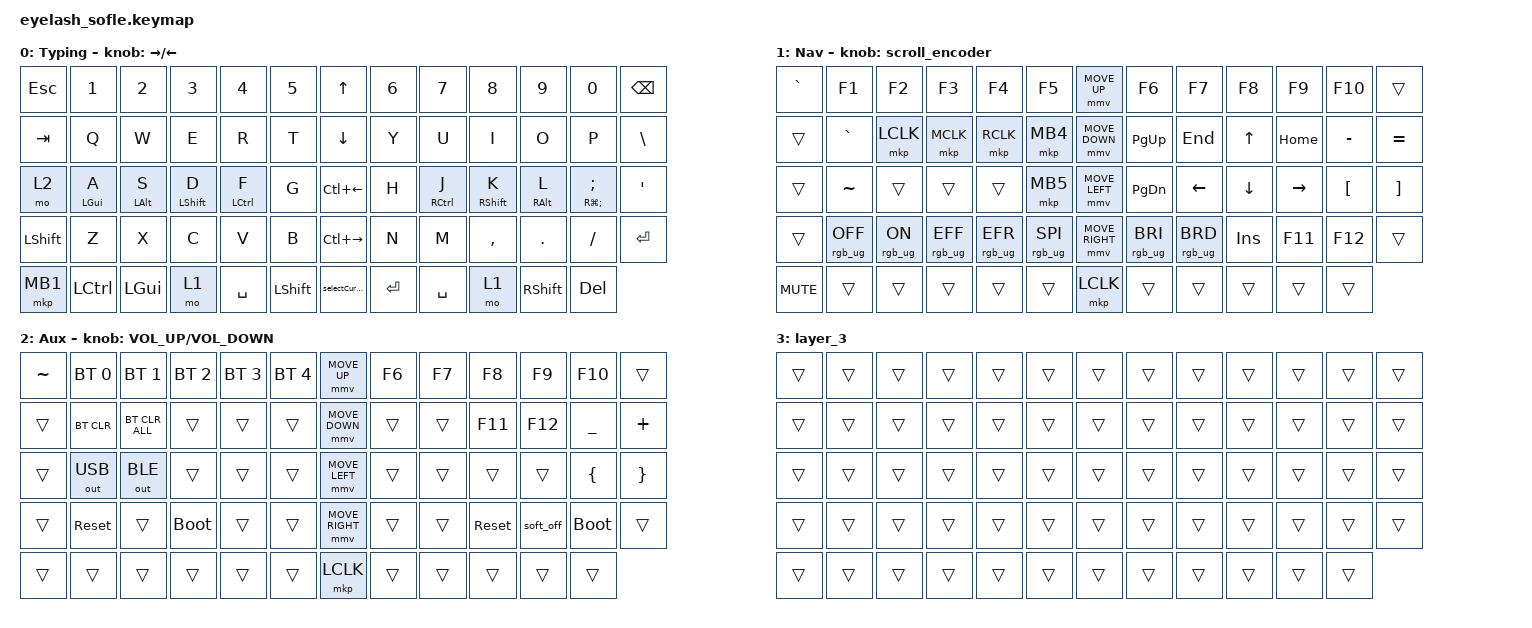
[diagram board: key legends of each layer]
#define ZMK_POINTING_DEFAULT_MOVE_VAL 1200  // 600
#define ZMK_POINTING_DEFAULT_SCRL_VAL 25   // 10

#include <input/processors.dtsi>
#include <zephyr/dt-bindings/input/input-event-codes.h>
#include <behaviors.dtsi>
#include <dt-bindings/zmk/bt.h>
#include <dt-bindings/zmk/keys.h>
#include <dt-bindings/zmk/outputs.h>
#include <dt-bindings/zmk/pointing.h>
#include <dt-bindings/zmk/rgb.h>

&mmv_input_listener { input-processors = <&zip_xy_scaler 2 1>; };

&msc_input_listener { input-processors = <&zip_scroll_scaler 2 1>; };

&msc {
    acceleration-exponent = <1>;      // 0
    time-to-max-speed-ms = <100>;       // 300
    delay-ms = <0>;                   // 0
};

&mmv {
    time-to-max-speed-ms = <500>;
    acceleration-exponent = <1>;
    trigger-period-ms = <16>;
};

&soft_off { hold-time-ms = <2000>; };

&mt { flavor = "balanced"; };

/ {
behaviors {
    scroll_encoder: scroll_encoder {
        compatible = "zmk,behavior-sensor-rotate";
        #sensor-binding-cells = <0>;
        bindings = <&msc SCRL_DOWN>, <&msc SCRL_UP>;

        tap-ms = <100>;
    };
};

    combos {
        compatible = "zmk,combos";

        softoff {
            bindings = <&soft_off>;
            key-positions = <14 28 40>;
        };
    };

    macros {
        selectCurrentWord: selectCurrentWord {
            compatible = "zmk,behavior-macro";
            #binding-cells = <0>;
            bindings = <&kp LC(LEFT)>, <&macro_tap>, <&kp LS(LC(RIGHT_ARROW))>;

            label = "SELECTCURRENTWORD";
        };
    };

    keymap {
        compatible = "zmk,keymap";

        Typing {
            bindings = <
&kp ESC    &kp N1          &kp N2          &kp N3            &kp N4       &kp N5            &kp UP_ARROW         &kp N6      &kp N7       &kp N8             &kp N9           &kp N0                  &kp BACKSPACE
&kp TAB    &kp Q           &kp W           &kp E             &kp R        &kp T             &kp DOWN_ARROW       &kp Y       &kp U        &kp I              &kp O            &kp P                   &kp BSLH
&mo 2      &mt LEFT_GUI A  &mt LEFT_ALT S  &mt LEFT_SHIFT D  &mt LCTRL F  &kp G             &kp LC(LEFT_ARROW)   &kp H       &mt RCTRL J  &mt RIGHT_SHIFT K  &mt RIGHT_ALT L  &mt RG(SEMI) SEMICOLON  &kp APOS
&kp LSHFT  &kp Z           &kp X           &kp C             &kp V        &kp B             &kp LC(RIGHT_ARROW)  &kp N       &kp M        &kp COMMA          &kp DOT          &kp FSLH                &kp ENTER
&mkp MB1   &kp LCTRL       &kp LEFT_GUI    &mo 1             &kp SPACE    &kp LEFT_SHIFT    &selectCurrentWord   &kp RETURN  &kp SPACE    &mo 1              &kp RIGHT_SHIFT  &kp DELETE
            >;

            sensor-bindings = <&inc_dec_kp RIGHT_ARROW LEFT>;
            display-name = "Typing";
        };

        Nav {
            bindings = <
&kp GRAVE   &kp F1           &kp F2          &kp F3           &kp F4           &kp F5             &mmv MOVE_UP     &kp F6           &kp F7           &kp F8      &kp F9     &kp F10           &trans
&trans      &kp GRAVE        &mkp LCLK       &mkp MCLK        &mkp RCLK        &mkp MB4           &mmv MOVE_DOWN   &kp PG_UP        &kp END          &kp UP      &kp HOME   &kp MINUS         &kp EQUAL
&trans      &kp TILDE        &trans          &trans           &trans           &mkp MB5           &mmv MOVE_LEFT   &kp PG_DN        &kp LEFT         &kp DOWN    &kp RIGHT  &kp LEFT_BRACKET  &kp RIGHT_BRACKET
&trans      &rgb_ug RGB_OFF  &rgb_ug RGB_ON  &rgb_ug RGB_EFF  &rgb_ug RGB_EFR  &rgb_ug RGB_SPI    &mmv MOVE_RIGHT  &rgb_ug RGB_BRI  &rgb_ug RGB_BRD  &kp INSERT  &kp F11    &kp F12           &trans
&kp C_MUTE  &trans           &trans          &trans           &trans           &trans             &mkp LCLK        &trans           &trans           &trans      &trans     &trans
            >;

            display-name = "Nav";
            sensor-bindings = <&scroll_encoder>;
        };

        Aux {
            bindings = <
&kp TILDE  &bt BT_SEL 0  &bt BT_SEL 1    &bt BT_SEL 2  &bt BT_SEL 3  &bt BT_SEL 4    &mmv MOVE_UP     &kp F6  &kp F7  &kp F8      &kp F9     &kp F10      &trans
&trans     &bt BT_CLR    &bt BT_CLR_ALL  &trans        &trans        &trans          &mmv MOVE_DOWN   &trans  &trans  &kp F11     &kp F12    &kp UNDER    &kp PLUS
&trans     &out OUT_USB  &out OUT_BLE    &trans        &trans        &trans          &mmv MOVE_LEFT   &trans  &trans  &trans      &trans     &kp LBRC     &kp RBRC
&trans     &sys_reset    &trans          &bootloader   &trans        &trans          &mmv MOVE_RIGHT  &trans  &trans  &sys_reset  &soft_off  &bootloader  &trans
&trans     &trans        &trans          &trans        &trans        &trans          &mkp LCLK        &trans  &trans  &trans      &trans     &trans
            >;

            sensor-bindings = <&inc_dec_kp C_VOLUME_UP C_VOLUME_DOWN>;
        };

        layer_3 {
            bindings = <
&trans  &trans  &trans  &trans  &trans  &trans    &trans  &trans  &trans  &trans  &trans  &trans  &trans
&trans  &trans  &trans  &trans  &trans  &trans    &trans  &trans  &trans  &trans  &trans  &trans  &trans
&trans  &trans  &trans  &trans  &trans  &trans    &trans  &trans  &trans  &trans  &trans  &trans  &trans
&trans  &trans  &trans  &trans  &trans  &trans    &trans  &trans  &trans  &trans  &trans  &trans  &trans
&trans  &trans  &trans  &trans  &trans  &trans    &trans  &trans  &trans  &trans  &trans  &trans
            >;
        };
    };
};
